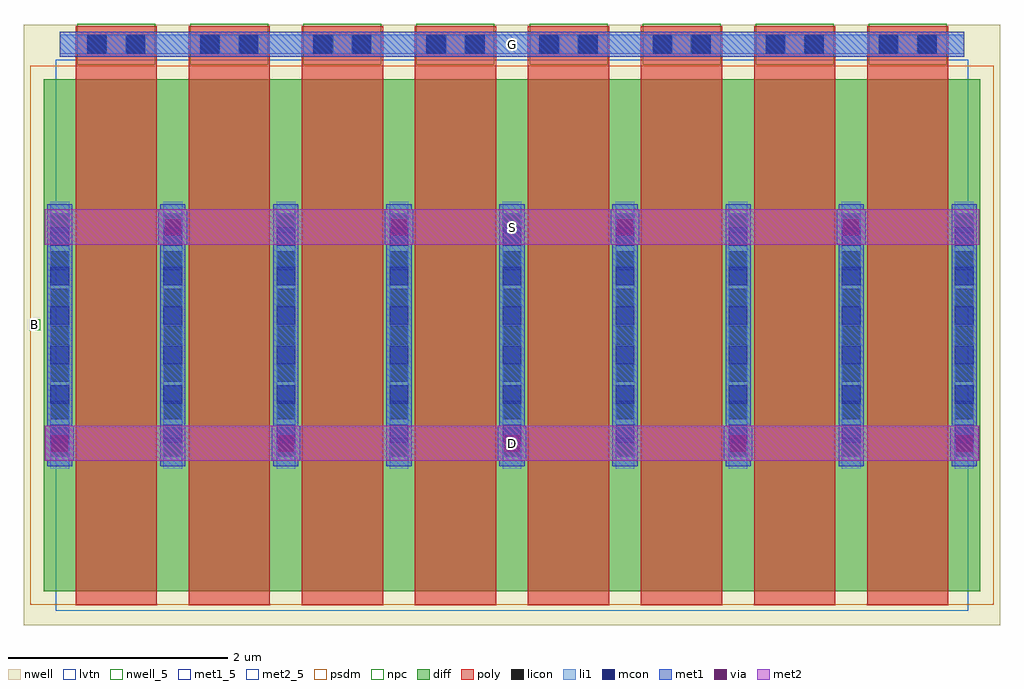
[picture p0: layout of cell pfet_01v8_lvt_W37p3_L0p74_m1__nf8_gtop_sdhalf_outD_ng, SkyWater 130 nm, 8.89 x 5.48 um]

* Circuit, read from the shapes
.subckt pfet_01v8_lvt_W37p3_L0p74_m1__nf8_gtop_sdhalf_outD_ng B D G S
XM1 S G D B sky130_fd_pr__pfet_01v8_lvt w=4.66 l=0.74 m=8
.ends

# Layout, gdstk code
import gdstk
lib = gdstk.Library(unit=1e-6, precision=1e-09)
def R(c, l, rs):  # rectangles x0, y0, x1, y1
    for r in rs: c.add(gdstk.rectangle(r[:2], r[2:], *l))
def A(c, l, x, y, w, h, nx, ny, dx, dy):  # array of equal rectangles
    R(c, l, [(x+i*dx, y+j*dy, x+i*dx+w, y+j*dy+h) for i in range(nx) for j in range(ny)])
nwell_5 = (64, 5)
nwell = (64, 20)
diff = (65, 20)
poly = (66, 20)
licon = (66, 44)
li1 = (67, 20)
mcon = (67, 44)
met1_5 = (68, 5)
met1 = (68, 20)
via = (68, 44)
met2_5 = (69, 5)
met2 = (69, 20)
psdm = (94, 20)
npc = (95, 20)
lvtn = (125, 44)

sky130_fd_pr__pfet_01v8_ = lib.new_cell('sky130_fd_pr__pfet_01v8_lvt_47UE6J')
R(sky130_fd_pr__pfet_01v8_, nwell, [(-4.445,-2.82,4.445,2.65)])
R(sky130_fd_pr__pfet_01v8_, diff, [(-4.265,-2.51,4.265,2.15)])
A(sky130_fd_pr__pfet_01v8_, poly, -3.975, -2.64, 0.74, 5.275, 8, 1, 1.03, 0)
A(sky130_fd_pr__pfet_01v8_, licon, -4.205, -1.285, 0.17, 0.17, 9, 7, 1.03, 0.34)
R(sky130_fd_pr__pfet_01v8_, licon, [(-3.86,2.385,-3.69,2.555), (-3.52,2.385,-3.35,2.555), (-2.83,2.385,-2.66,2.555), (-2.49,2.385,-2.32,2.555), (-1.8,2.385,-1.63,2.555), (-1.46,2.385,-1.29,2.555), (-0.77,2.385,-0.6,2.555), (-0.43,2.385,-0.26,2.555), (0.26,2.385,0.43,2.555), (0.6,2.385,0.77,2.555), (1.29,2.385,1.46,2.555), (1.63,2.385,1.8,2.555), (2.32,2.385,2.49,2.555), (2.66,2.385,2.83,2.555), (3.35,2.385,3.52,2.555), (3.69,2.385,3.86,2.555)])
A(sky130_fd_pr__pfet_01v8_, li1, -4.205, -1.395, 0.17, 2.43, 9, 1, 1.03, 0)
R(sky130_fd_pr__pfet_01v8_, li1, [(-4.12,2.385,4.12,2.555)])
A(sky130_fd_pr__pfet_01v8_, mcon, -4.205, -1.165, 0.17, 0.17, 9, 6, 1.03, 0.36)
R(sky130_fd_pr__pfet_01v8_, mcon, [(-3.87,2.385,-3.7,2.555), (-3.51,2.385,-3.34,2.555), (-2.84,2.385,-2.67,2.555), (-2.48,2.385,-2.31,2.555), (-1.81,2.385,-1.64,2.555), (-1.45,2.385,-1.28,2.555), (-0.78,2.385,-0.61,2.555), (-0.42,2.385,-0.25,2.555), (0.25,2.385,0.42,2.555), (0.61,2.385,0.78,2.555), (1.28,2.385,1.45,2.555), (1.64,2.385,1.81,2.555), (2.31,2.385,2.48,2.555), (2.67,2.385,2.84,2.555), (3.34,2.385,3.51,2.555), (3.7,2.385,3.87,2.555)])
A(sky130_fd_pr__pfet_01v8_, met1, -4.235, -1.375, 0.23, 2.39, 9, 1, 1.03, 0)
A(sky130_fd_pr__pfet_01v8_, met1, -3.955, 2.355, 0.7, 0.03, 8, 2, 1.03, 0.2)
R(sky130_fd_pr__pfet_01v8_, met1, [(-4.12,2.385,4.12,2.555)])
R(sky130_fd_pr__pfet_01v8_, psdm, [(-4.39,-2.635,4.39,2.275)])
A(sky130_fd_pr__pfet_01v8_, npc, -3.96, 2.285, 0.71, 0.37, 8, 1, 1.03, 0)
R(sky130_fd_pr__pfet_01v8_, lvtn, [(-4.155,-2.69,4.155,2.33)])
sky130_fd_pr__pfet_01v8_.add(gdstk.Label('D0', (-4.12,-0.18), layer=67, texttype=5))
sky130_fd_pr__pfet_01v8_.add(gdstk.Label('G', (3.605,2.47), layer=67, texttype=5))
sky130_fd_pr__pfet_01v8_.add(gdstk.Label('G', (2.575,2.47), layer=67, texttype=5))
sky130_fd_pr__pfet_01v8_.add(gdstk.Label('G', (1.545,2.47), layer=67, texttype=5))
sky130_fd_pr__pfet_01v8_.add(gdstk.Label('G', (0.515,2.47), layer=67, texttype=5))
sky130_fd_pr__pfet_01v8_.add(gdstk.Label('G', (-0.515,2.47), layer=67, texttype=5))
sky130_fd_pr__pfet_01v8_.add(gdstk.Label('G', (-1.545,2.47), layer=67, texttype=5))
sky130_fd_pr__pfet_01v8_.add(gdstk.Label('G', (-2.575,2.47), layer=67, texttype=5))
sky130_fd_pr__pfet_01v8_.add(gdstk.Label('G', (-3.605,2.47), layer=67, texttype=5))
sky130_fd_pr__pfet_01v8_.add(gdstk.Label('S1', (-3.09,-0.18), layer=67, texttype=5))
sky130_fd_pr__pfet_01v8_.add(gdstk.Label('D2', (-2.06,-0.18), layer=67, texttype=5))
sky130_fd_pr__pfet_01v8_.add(gdstk.Label('S3', (-1.03,-0.18), layer=67, texttype=5))
sky130_fd_pr__pfet_01v8_.add(gdstk.Label('D4', (0,-0.18), layer=67, texttype=5))
sky130_fd_pr__pfet_01v8_.add(gdstk.Label('S5', (1.03,-0.18), layer=67, texttype=5))
sky130_fd_pr__pfet_01v8_.add(gdstk.Label('D6', (2.06,-0.18), layer=67, texttype=5))
sky130_fd_pr__pfet_01v8_.add(gdstk.Label('S7', (3.09,-0.18), layer=67, texttype=5))

pfet_01v8_lvt_w37p3_l0p7 = lib.new_cell('pfet_01v8_lvt_W37p3_L0p74_m1__nf8_gtop_sdhalf_outD_ng')
R(pfet_01v8_lvt_w37p3_l0p7, nwell_5, [(0.05,2.685,0.15,2.785)])
R(pfet_01v8_lvt_w37p3_l0p7, nwell, [(0.05,2.685,0.15,2.785)])
R(pfet_01v8_lvt_w37p3_l0p7, met1_5, [(0.325,5.175,8.565,5.405)])
A(pfet_01v8_lvt_w37p3_l0p7, met1, 0.195, 1.495, 0.26, 0.32, 5, 1, 2.06, 0)
A(pfet_01v8_lvt_w37p3_l0p7, met1, 1.225, 3.465, 0.26, 0.32, 4, 1, 2.06, 0)
R(pfet_01v8_lvt_w37p3_l0p7, met1, [(0.325,5.175,8.565,5.405)])
A(pfet_01v8_lvt_w37p3_l0p7, via, 0.25, 1.58, 0.15, 0.15, 5, 1, 2.06, 0)
A(pfet_01v8_lvt_w37p3_l0p7, via, 1.28, 3.55, 0.15, 0.15, 4, 1, 2.06, 0)
R(pfet_01v8_lvt_w37p3_l0p7, met2_5, [(0.19,1.495,8.7,1.815), (0.19,3.465,8.7,3.785)])
R(pfet_01v8_lvt_w37p3_l0p7, met2, [(0.19,1.495,8.7,1.815), (0.19,3.465,8.7,3.785)])
pfet_01v8_lvt_w37p3_l0p7.add(gdstk.Reference(sky130_fd_pr__pfet_01v8_, (4.445,2.82)))
pfet_01v8_lvt_w37p3_l0p7.add(gdstk.Label('S', (4.445,3.625), layer=69, texttype=5))
pfet_01v8_lvt_w37p3_l0p7.add(gdstk.Label('D', (4.445,1.655), layer=69, texttype=5))
pfet_01v8_lvt_w37p3_l0p7.add(gdstk.Label('G', (4.445,5.29), layer=68, texttype=5))
pfet_01v8_lvt_w37p3_l0p7.add(gdstk.Label('B', (0.1,2.735), layer=64, texttype=5))

lib.write_gds('pfet_01v8_lvt_W37p3_L0p74_m1__nf8_gtop_sdhalf_outD_ng.gds')
